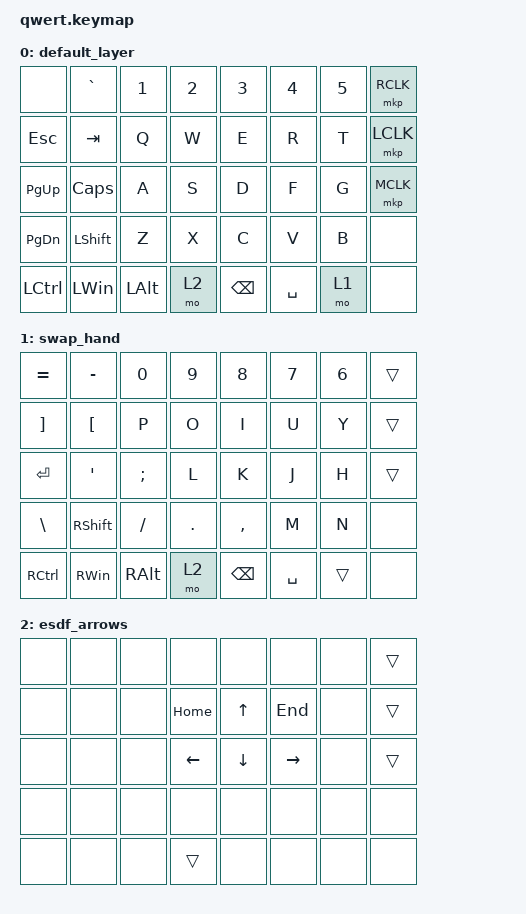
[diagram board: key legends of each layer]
// This file was generated from a template. Edit it to match your keyboard.
// See https://zmk.dev/docs/development/hardware-integration/new-shield for more instructions.

#include <behaviors.dtsi>
#include <dt-bindings/zmk/keys.h>
#include <dt-bindings/zmk/mouse.h>

/ {
    // Define a default keymap here.
    // See https://zmk.dev/docs/development/hardware-integration/new-shield#default-keymap.
    keymap {
        compatible = "zmk,keymap";

        default_layer {
            bindings = <
                &none &kp GRAVE &kp N1 &kp N2 &kp N3 &kp N4 &kp N5 &mkp RCLK
                &kp ESC &kp TAB &kp Q &kp W &kp E &kp R &kp T &mkp LCLK
                &kp PG_UP &kp CAPS &kp A &kp S &kp D &kp F &kp G &mkp MCLK
                &kp PG_DN &kp LSHFT &kp Z &kp X &kp C &kp V &kp B &none
                &kp LCTRL &kp LWIN &kp LALT &mo 2 &kp BSPC &kp SPACE &mo 1 &none
            >;
        };

        swap_hand {
            bindings = <
                &kp EQUAL &kp MINUS &kp N0 &kp N9 &kp N8 &kp N7 &kp N6 &trans
                &kp RBKT &kp LBKT &kp P &kp O &kp I &kp U &kp Y &trans
                &kp RET &kp SQT &kp SEMI &kp L &kp K &kp J &kp H &trans
                &kp BSLH &kp RSHFT &kp FSLH &kp DOT &kp COMMA &kp M &kp N &none
                &kp RCTRL &kp RWIN &kp RALT &mo 2 &kp BSPC &kp SPACE &trans &none
            >;
        };
        
        esdf_arrows {
            bindings = <
                &none &none &none &none &none &none &none &trans
                &none &none &none &kp HOME &kp UP &kp END &none &trans
                &none &none &none &kp LEFT &kp DOWN &kp RIGHT &none &trans
                &none &none &none &none &none &none &none &none
                &none &none &none &trans &none &none &none &none
            >;
        };
    };
};
